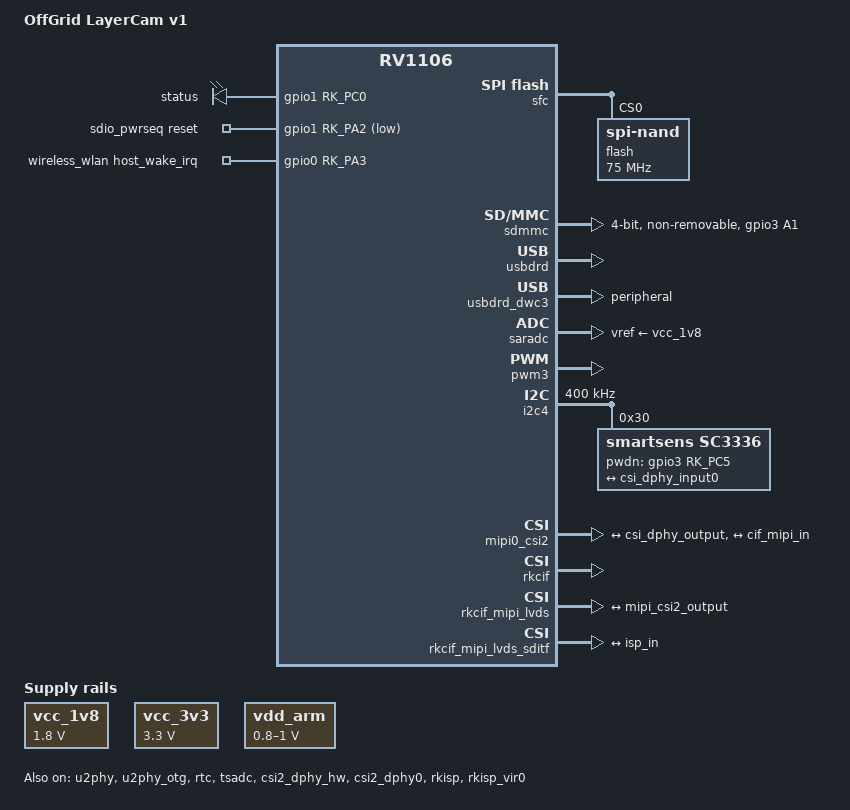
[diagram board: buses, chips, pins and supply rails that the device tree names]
// SPDX-License-Identifier: (GPL-2.0+ OR MIT)
/*
 * OffGrid LayerCam v1: RV1106G3 camera board in Prusa's Buddy3D housing.
 *
 * Modelled on the Luckfox SDK's rv1106g-luckfox-pico-pro-max.dts (camera,
 * flash, USB) and rv1106g-luckfox-pico-ultra.dts (SDIO Wi-Fi), commit
 * 824b817f of github.com/LuckfoxTECH/luckfox-pico.  Every pin is the one
 * src/circuit.py's main_soc() gives it; tests/test_pins.py checks this file
 * against circuit.py.  Copy it to sysdrv/source/kernel/arch/arm/boot/dts/
 * and point RK_KERNEL_DTS at it (README.md, Building the image).
 *
 * Not yet booted on a board.
 */

/dts-v1/;

#include "rv1106.dtsi"
#include "rv1106-evb.dtsi"

/ {
	model = "OffGrid LayerCam v1";
	compatible = "offgrid,layercam-v1", "rockchip,rv1106g3";

	/* as Luckfox's boards; on SPI NAND, U-Boot's environment supplies root= */
	chosen {
		bootargs = "earlycon=uart8250,mmio32,0xff4c0000 console=ttyFIQ0 rootwait snd_soc_core.prealloc_buffer_size_kbytes=16 coherent_pool=0";
	};

	/* No keys: the camera has no button.  The evb's adc-keys would poll
	 * SARADC_IN0, which here is the BOOT pad (TP5), the boot ROM's MaskROM
	 * strap, and report it as volume keys.  The camera software reads the
	 * pin only to warn when it leaks towards ground (layercam/hw.py). */
	/delete-node/ adc-keys;

	vcc_1v8: vcc-1v8 {
		compatible = "regulator-fixed";
		regulator-name = "vcc_1v8";
		regulator-always-on;
		regulator-boot-on;
		regulator-min-microvolt = <1800000>;
		regulator-max-microvolt = <1800000>;
	};

	vcc_3v3: vcc-3v3 {
		compatible = "regulator-fixed";
		regulator-name = "vcc_3v3";
		regulator-always-on;
		regulator-boot-on;
		regulator-min-microvolt = <3300000>;
		regulator-max-microvolt = <3300000>;
	};

	/* the 0.9 V buck is fixed (TLV62569, 0.882 V), as Luckfox's */
	vdd_arm: vdd-arm {
		compatible = "regulator-fixed";
		regulator-name = "vdd_arm";
		regulator-min-microvolt = <800000>;
		regulator-max-microvolt = <1000000>;
		regulator-init-microvolt = <900000>;
		regulator-always-on;
		regulator-boot-on;
	};

	/* LED1, green, GPIO1_C0 through 1k: /sys/class/leds/status */
	leds {
		compatible = "gpio-leds";
		pinctrl-names = "default";
		pinctrl-0 = <&status_led_pin>;

		status_led: status {
			label = "status";
			gpios = <&gpio1 RK_PC0 GPIO_ACTIVE_HIGH>;
			default-state = "on";
		};
	};

	/* AP6256 WL_REG_ON on GPIO1_A2 (100k pull-down on the board: off
	 * until Linux raises it), as the Luckfox Pico Ultra W */
	sdio_pwrseq: sdio-pwrseq {
		compatible = "mmc-pwrseq-simple";
		pinctrl-names = "default";
		pinctrl-0 = <&wifi_enable_h>;
		reset-gpios = <&gpio1 RK_PA2 GPIO_ACTIVE_LOW>;
		post-power-on-delay-ms = <200>;
	};

	/* out-of-band interrupt for bcmdhd (built with CONFIG_BCMDHD_OOB):
	 * WL_HOST_WAKE on GPIO0_A3.  The 32.768 kHz sleep clock comes from the
	 * board's own oscillator (Y4), always on, so no clock here. */
	wireless_wlan: wireless-wlan {
		compatible = "wlan-platdata";
		rockchip,grf = <&grf>;
		wifi_chip_type = "ap6256";
		pinctrl-names = "default";
		pinctrl-0 = <&wifi_host_wake_irq>;
		WIFI,host_wake_irq = <&gpio0 RK_PA3 GPIO_ACTIVE_HIGH>;
		status = "okay";
	};

	/* Bluetooth is wired (UART1_M0 with RTS/CTS, BT_REG_ON GPIO0_A1,
	 * BT_WAKE GPIO0_A2, BT_HOST_WAKE GPIO0_A4) but not used by v1's
	 * software; BT_REG_ON stays low (100k pull-down).  To use it, enable
	 * &uart1 and this node, and the SDK's rv1106-bt.config. */
	wireless_bluetooth: wireless-bluetooth {
		compatible = "bluetooth-platdata";
		uart_rts_gpios = <&gpio0 RK_PA5 GPIO_ACTIVE_LOW>;
		pinctrl-names = "default", "rts_gpio";
		pinctrl-0 = <&uart1m0_rtsn>;
		pinctrl-1 = <&uart1_gpios>;
		BT,reset_gpio = <&gpio0 RK_PA1 GPIO_ACTIVE_HIGH>;
		BT,wake_gpio = <&gpio0 RK_PA2 GPIO_ACTIVE_HIGH>;
		BT,wake_host_irq = <&gpio0 RK_PA4 GPIO_ACTIVE_HIGH>;
		status = "disabled";
	};
};

&cpu0 {
	cpu-supply = <&vdd_arm>;
};

/********** flash: W25N02KV, quad SPI NAND (as the Pro Max) **********/
&sfc {
	status = "okay";
	flash@0 {
		compatible = "spi-nand";
		reg = <0>;
		spi-max-frequency = <75000000>;
		spi-rx-bus-width = <4>;
		spi-tx-bus-width = <1>;
	};
};

/********** SDIO: AP6256 at 3.3 V (SDIO_VSEL low, VCCIO4 3.3 V) **********/
&sdmmc {
	max-frequency = <50000000>;
	bus-width = <4>;
	cap-sd-highspeed;
	cap-sdio-irq;
	keep-power-in-suspend;
	non-removable;
	no-1-8-v;
	supports-sdio;
	rockchip,default-sample-phase = <90>;
	mmc-pwrseq = <&sdio_pwrseq>;
	pinctrl-names = "default";
	pinctrl-0 = <&sdmmc0_clk &sdmmc0_cmd &sdmmc0_bus4 &sdmmc0_det>;
	status = "okay";
};

/********** not fitted on this board **********/
&gmac {
	status = "disabled";
};

&i2s0_8ch {
	status = "disabled";
};

&acodec {
	status = "disabled";
};

/********** USB-C: device only (the layercam-setup console, CDC-ACM) **********/
/* peripheral, not otg: the USB-C has Rd on CC and no VBUS switch, so it is
 * never a host, and with no ID pin or role switch otg could only guess.
 * MaskROM (BOOT pads) and U-Boot's loader (reboot loader) flash over the
 * same port without Linux, so nothing here affects them. */
&u2phy {
	status = "okay";
};

&u2phy_otg {
	rockchip,dis-u2-susphy;
	status = "okay";
};

&usbdrd {
	status = "okay";
};

&usbdrd_dwc3 {
	status = "okay";
	dr_mode = "peripheral";
};

&rtc {
	status = "okay";
};

/********** ADC: SARADC_IN0 BOOT pad (diagnostics only), SARADC_IN1 light sensor; 1.8 V reference **********/
&saradc {
	status = "okay";
	vref-supply = <&vcc_1v8>;
};

&tsadc {
	status = "okay";
};

/********** IR LEDs: PWM3 on its M1 pin (GPIO1_B0) to the AO3400A gate **********/
&pwm3 {
	status = "okay";
	pinctrl-names = "active";
	pinctrl-0 = <&pwm3m1_pins>;
};

/********** camera: SC3336, 2 lanes, I2C4_M2, MCLK on GPIO3_C4, PWDN GPIO3_C5 (as the Pro Max) **********/
&csi2_dphy_hw {
	status = "okay";
};

&csi2_dphy0 {
	status = "okay";

	ports {
		#address-cells = <1>;
		#size-cells = <0>;

		port@0 {
			reg = <0>;
			#address-cells = <1>;
			#size-cells = <0>;

			csi_dphy_input0: endpoint@0 {
				reg = <0>;
				remote-endpoint = <&sc3336_out>;
				data-lanes = <1 2>;
			};
		};

		port@1 {
			reg = <1>;
			#address-cells = <1>;
			#size-cells = <0>;

			csi_dphy_output: endpoint@0 {
				reg = <0>;
				remote-endpoint = <&mipi_csi2_input>;
			};
		};
	};
};

&i2c4 {
	status = "okay";
	clock-frequency = <400000>;
	pinctrl-names = "default";
	pinctrl-0 = <&i2c4m2_xfer>;

	sc3336: sc3336@30 {
		compatible = "smartsens,sc3336";
		status = "okay";
		reg = <0x30>;
		clocks = <&cru MCLK_REF_MIPI0>;
		clock-names = "xvclk";
		pwdn-gpios = <&gpio3 RK_PC5 GPIO_ACTIVE_HIGH>;
		pinctrl-names = "default";
		pinctrl-0 = <&mipi_refclk_out0>;
		rockchip,camera-module-index = <0>;
		rockchip,camera-module-facing = "back";
		/* these two names pick the IQ file sc3336_CMK-OT2119-PC1_30IRC-F16.json */
		rockchip,camera-module-name = "CMK-OT2119-PC1";
		rockchip,camera-module-lens-name = "30IRC-F16";
		port {
			sc3336_out: endpoint {
				remote-endpoint = <&csi_dphy_input0>;
				data-lanes = <1 2>;
			};
		};
	};
};

&mipi0_csi2 {
	status = "okay";

	ports {
		#address-cells = <1>;
		#size-cells = <0>;

		port@0 {
			reg = <0>;
			#address-cells = <1>;
			#size-cells = <0>;

			mipi_csi2_input: endpoint@1 {
				reg = <1>;
				remote-endpoint = <&csi_dphy_output>;
			};
		};

		port@1 {
			reg = <1>;
			#address-cells = <1>;
			#size-cells = <0>;

			mipi_csi2_output: endpoint@0 {
				reg = <0>;
				remote-endpoint = <&cif_mipi_in>;
			};
		};
	};
};

&rkcif {
	status = "okay";
};

&rkcif_mipi_lvds {
	status = "okay";
	pinctrl-names = "default";
	pinctrl-0 = <&mipi_pins>;
	port {
		cif_mipi_in: endpoint {
			remote-endpoint = <&mipi_csi2_output>;
		};
	};
};

&rkcif_mipi_lvds_sditf {
	status = "okay";
	port {
		mipi_lvds_sditf: endpoint {
			remote-endpoint = <&isp_in>;
		};
	};
};

&rkisp {
	status = "okay";
};

&rkisp_vir0 {
	status = "okay";
	port@0 {
		isp_in: endpoint {
			remote-endpoint = <&mipi_lvds_sditf>;
		};
	};
};

/********** pins **********/
&pinctrl {
	/* the IR-cut H-bridge inputs (DRV8837 IN1/IN2, pulled down inside the
	 * driver too): plain GPIOs, low, so the bridge is off until the
	 * camera software pulses the coil.  Held by the pin controller itself. */
	pinctrl-names = "default";
	pinctrl-0 = <&ircut_pins>;

	ircut {
		ircut_pins: ircut-pins {
			rockchip,pins =
				/* IRCUT_A, GPIO1_A0 */
				<1 RK_PA0 RK_FUNC_GPIO &pcfg_pull_down>,
				/* IRCUT_B, GPIO1_A1 */
				<1 RK_PA1 RK_FUNC_GPIO &pcfg_pull_down>;
		};
	};

	leds {
		status_led_pin: status-led-pin {
			rockchip,pins = <1 RK_PC0 RK_FUNC_GPIO &pcfg_pull_none>;
		};
	};

	wifi {
		wifi_enable_h: wifi-enable-h {
			rockchip,pins = <1 RK_PA2 RK_FUNC_GPIO &pcfg_pull_none>;
		};
		wifi_host_wake_irq: wifi-host-wake-irq {
			rockchip,pins = <0 RK_PA3 RK_FUNC_GPIO &pcfg_pull_down>;
		};
	};

	wireless-bluetooth {
		uart1_gpios: uart1-gpios {
			rockchip,pins = <0 RK_PA5 RK_FUNC_GPIO &pcfg_pull_none>;
		};
	};

	/* SDMMC0_DET has 10k to ground on the board: the "card" is always there */
	sdmmc0 {
		sdmmc0_det: sdmmc0-det {
			rockchip,pins = <3 RK_PA1 1 &pcfg_pull_down>;
		};
	};
};
